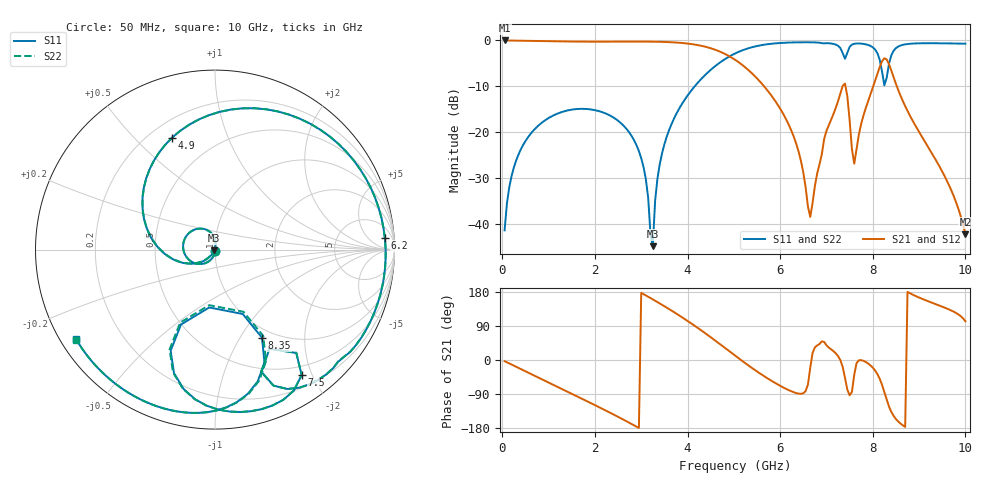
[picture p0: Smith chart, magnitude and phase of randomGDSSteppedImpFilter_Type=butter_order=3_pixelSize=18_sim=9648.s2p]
! freq	dB(S11)	phase(S11)	dB(S12)	phase(S12)
!  dB(S21)	phase(S21)	dB(S22)	phase(S22)
!S-par simulation data
#  GHz  S  DB  R 50
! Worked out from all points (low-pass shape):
!   200 points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, 50 MHz to 10 GHz, reference 50 ohm
!   highest |S21| = -0.01 dB at 50 MHz (marker M1); lowest = -42.2 dB at 10 GHz (marker M2)
!   |S21| within 3 dB of the highest: start of sweep to 4.82 GHz
!   lowest |S11| = -44.9 dB at 3.25 GHz (marker M3), VSWR 1.01, Z = 49.5 - j0.309 ohm
!   |S11| at or under -10 dB: start of sweep to 4.155 GHz
!   |S22| runs from -43.4 to -0.4 dB; largest |S21 - S12| = 0
!   S11 on the Smith chart (normalised r, x): 50 MHz: 1.00, -0.02; 4.9 GHz: 0.29, +0.65; 6.2 GHz: 14, +18; 7.5 GHz: 0.37, -1.85; 8.35 GHz: 0.88, -1.25; 10 GHz: 0.04, -0.29
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0.05  -41.41 -91.0  -0.01 -3.0  -0.01 -3.0  -41.41 -91.0
0.2  -29.59 -101.6  -0.03 -12.0  -0.03 -12.0  -29.59 -101.6
0.5  -21.95 -120.2  -0.07 -29.9  -0.07 -29.9  -21.95 -120.2
1.75  -14.91 165.3  -0.27 -103.9  -0.27 -103.9  -14.91 165.5
2.85  -21.86 97.3  -0.25 -172.7  -0.25 -172.7  -21.85 98.5
3.1  -30.26 83.0  -0.25 170.4  -0.25 170.4  -30.21 86.3
3.25  -44.86 -146.9  -0.27 160.0  -0.27 160.0  -43.37 -157.3
3.4  -26.99 -125.2  -0.30 149.3  -0.30 149.3  -26.96 -127.8
4.15  -10.06 178.5  -0.89 90.7  -0.89 90.7  -10.06 178.1
4.9  -3.52 111.2  -3.43 23.4  -3.43 23.4  -3.51 111.0
5.05  -2.73 97.2  -4.37 9.5  -4.37 9.5  -2.73 97.1
5.55  -1.12 52.9  -8.81 -34.4  -8.81 -34.4  -1.12 52.9
6.2  -0.46 3.9  -18.69 -80.3  -18.69 -80.3  -0.46 3.9
6.7  -0.42 -27.8  -35.45 18.3  -35.45 18.3  -0.42 -27.9
7.35  -2.74 -69.2  -9.92 -18.0  -9.92 -18.0  -2.76 -69.3
7.5  -1.41 -55.4  -17.34 -93.2  -17.34 -93.2  -1.42 -55.4
7.6  -0.73 -65.5  -26.88 -38.7  -26.88 -38.7  -0.73 -65.5
8.15  -4.22 -113.7  -5.79 -49.4  -5.79 -49.4  -4.28 -114.5
8.25  -9.79 -95.7  -3.90 -84.9  -3.90 -84.9  -10.14 -96.0
8.35  -5.09 -61.9  -5.16 -122.8  -5.16 -122.8  -5.18 -60.8
8.75  -0.78 -95.7  -15.38 179.7  -15.38 179.7  -0.78 -95.3
10  -0.71 -147.2  -42.24 102.3  -42.24 102.3  -0.71 -147.0
